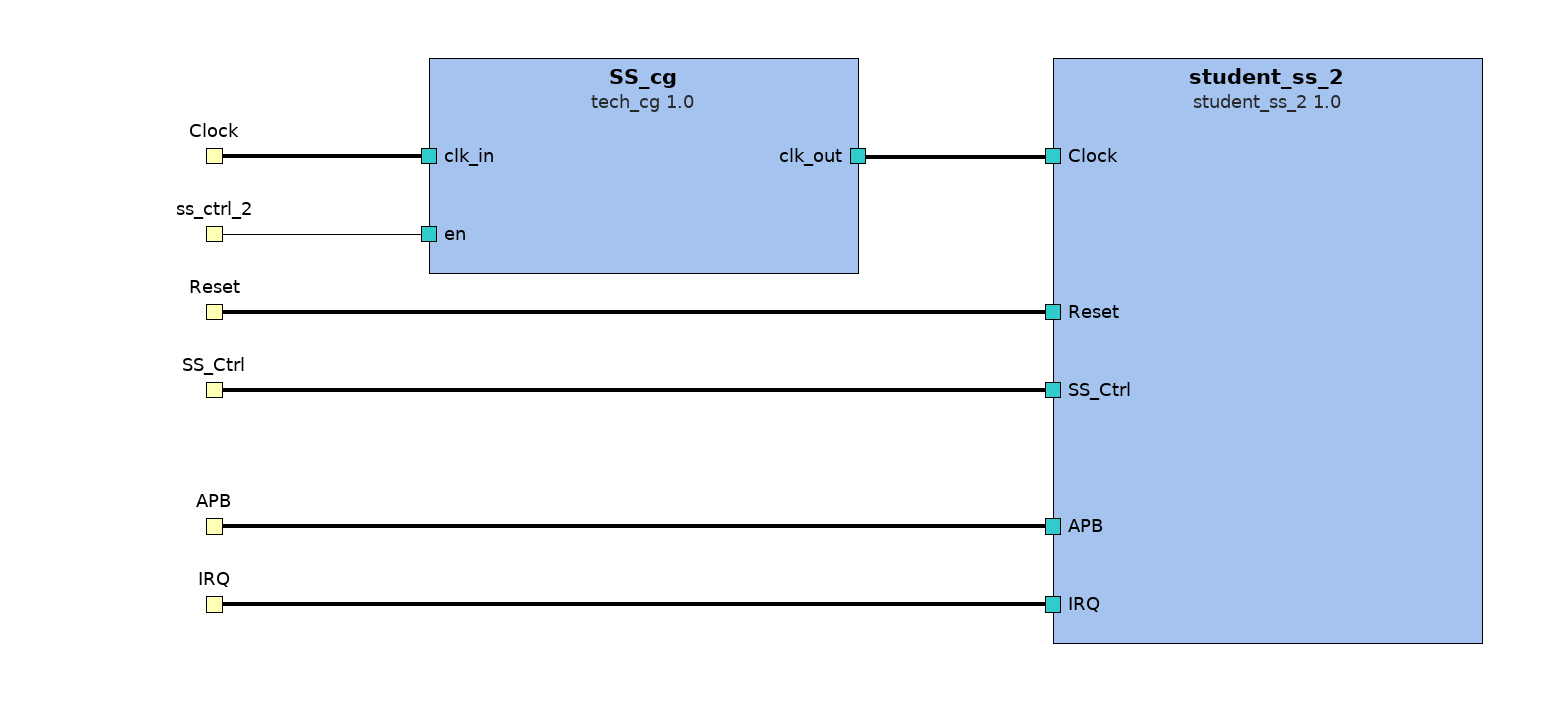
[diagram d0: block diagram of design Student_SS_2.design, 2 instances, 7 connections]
<?xml version="1.0" encoding="UTF-8"?>
<ipxact:design xmlns:xsi="http://www.w3.org/2001/XMLSchema-instance" xmlns:ipxact="http://www.accellera.org/XMLSchema/IPXACT/1685-2022" xmlns:kactus2="http://kactus2.cs.tut.fi" xsi:schemaLocation="http://www.accellera.org/XMLSchema/IPXACT/1685-2022 http://www.accellera.org/XMLSchema/IPXACT/1685-2022/index.xsd"><ipxact:vendor>tuni.fi</ipxact:vendor><ipxact:library>subsystem.wrapper</ipxact:library>
 <ipxact:name>Student_SS_2.design</ipxact:name><ipxact:version>1.0</ipxact:version>
 <ipxact:componentInstances><ipxact:componentInstance><ipxact:instanceName>SS_cg</ipxact:instanceName><ipxact:componentRef vendor="tuni.fi" library="tech" name="tech_cg" version="1.0"/></ipxact:componentInstance><ipxact:componentInstance><ipxact:instanceName>student_ss_2</ipxact:instanceName><ipxact:componentRef vendor="tuni.fi" library="subsystem" name="student_ss_2" version="1.0"/></ipxact:componentInstance></ipxact:componentInstances>
 <ipxact:interconnections>
  <ipxact:interconnection><ipxact:name>SS_cg_clk_in_to_Clock</ipxact:name><ipxact:activeInterface componentInstanceRef="SS_cg" busRef="clk_in"/><ipxact:hierInterface busRef="Clock"/></ipxact:interconnection>
  <ipxact:interconnection><ipxact:name>SS_cg_clk_out_to_student_ss_2_Clock</ipxact:name><ipxact:activeInterface componentInstanceRef="SS_cg" busRef="clk_out"/><ipxact:activeInterface componentInstanceRef="student_ss_2" busRef="Clock"/></ipxact:interconnection>
  <ipxact:interconnection><ipxact:name>student_ss_2_Reset_to_Reset</ipxact:name><ipxact:activeInterface componentInstanceRef="student_ss_2" busRef="Reset"/><ipxact:hierInterface busRef="Reset"/></ipxact:interconnection>
  <ipxact:interconnection><ipxact:name>student_ss_2_SS_Ctrl_to_SS_Ctrl</ipxact:name><ipxact:activeInterface componentInstanceRef="student_ss_2" busRef="SS_Ctrl"/><ipxact:hierInterface busRef="SS_Ctrl"/></ipxact:interconnection>
  <ipxact:interconnection><ipxact:name>student_ss_2_APB_to_APB</ipxact:name><ipxact:activeInterface componentInstanceRef="student_ss_2" busRef="APB"/><ipxact:hierInterface busRef="APB"/></ipxact:interconnection>
  <ipxact:interconnection><ipxact:name>student_ss_2_IRQ_to_IRQ</ipxact:name><ipxact:activeInterface componentInstanceRef="student_ss_2" busRef="IRQ"/><ipxact:hierInterface busRef="IRQ"/></ipxact:interconnection>
 </ipxact:interconnections>
 <ipxact:adHocConnections>
  <ipxact:adHocConnection><ipxact:name>SS_cg_en_to_ss_ctrl_2</ipxact:name><ipxact:portReferences><ipxact:internalPortReference componentInstanceRef="SS_cg" portRef="en"/><ipxact:externalPortReference portRef="ss_ctrl_2"><ipxact:partSelect><ipxact:range><ipxact:left>0</ipxact:left><ipxact:right>0</ipxact:right></ipxact:range></ipxact:partSelect></ipxact:externalPortReference></ipxact:portReferences></ipxact:adHocConnection>
 </ipxact:adHocConnections>
</ipxact:design>

